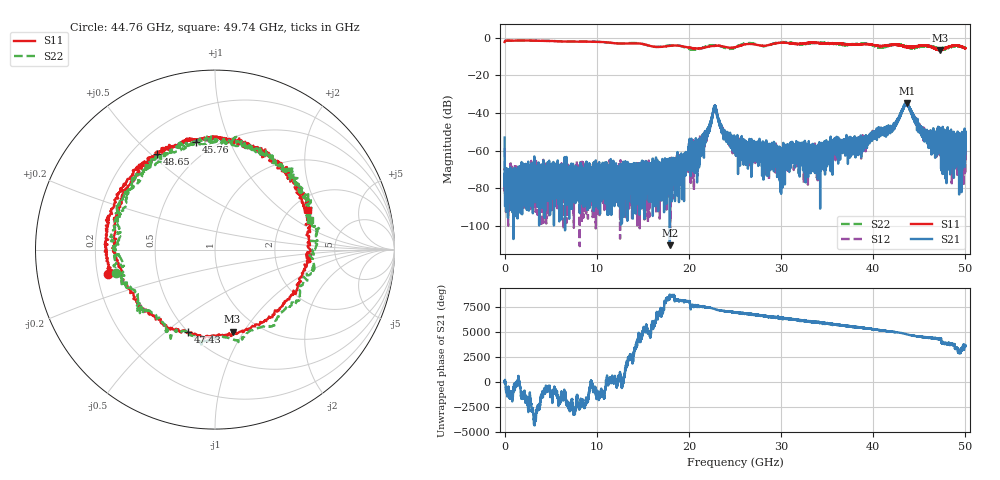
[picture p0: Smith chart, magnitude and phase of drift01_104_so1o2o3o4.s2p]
!Created with skrf (http://scikit-rf.org).
# Hz S RI R 50.0
!freq ReS11 ImS11 ReS21 ImS21 ReS12 ImS12 ReS22 ImS22
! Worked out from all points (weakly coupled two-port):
!   10001 points, 300 kHz to 50 GHz, reference 50 ohm
!   highest |S21| = -34.61 dB at 43.65 GHz (marker M1); lowest = -110.5 dB at 17.93 GHz (marker M2)
!   lowest |S11| = -6.6 dB at 47.21 GHz (marker M3), VSWR 2.76, Z = 38.2 - j44.8 ohm
!   |S11| at or under -10 dB: nowhere
!   |S22| runs from -6.4 to -1.4 dB; largest |S21 - S12| = 0.0041
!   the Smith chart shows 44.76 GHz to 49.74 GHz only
!   S11 on the Smith chart (normalised r, x): 44.76 GHz: 0.25, -0.11; 45.76 GHz: 0.40, +0.76; 47.43 GHz: 0.50, -0.60; 48.65 GHz: 0.30, +0.53; 49.74 GHz: 2.43, +1.57
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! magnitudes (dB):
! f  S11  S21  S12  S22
! 300 kHz  -2.1  -53.1  -58.9  -2.0
! 260.3 MHz  -1.4  -71.9  -83.9  -1.4
! 8.335 GHz  -1.9  -79.8  -81.7  -1.8
! 16.67 GHz  -4.8  -72.2  -71.5  -4.8
! 17.93 GHz  -4.2  -110.5  -74.0  -4.0
! 21.13 GHz  -5.6  -57.7  -59.9  -5.9
! 22.79 GHz  -4.3  -36.4  -36.4  -4.0
! 23.75 GHz  -4.6  -49.2  -48.9  -5.0
! 25 GHz  -5.0  -58.5  -56.6  -5.1
! 29.94 GHz  -2.6  -64.6  -61.4  -2.3
! 31.62 GHz  -3.2  -57.7  -63.3  -3.1
! 33.34 GHz  -2.6  -60.9  -71.9  -2.6
! 38.27 GHz  -3.5  -53.1  -55.7  -3.1
! 41.67 GHz  -3.9  -46.9  -49.1  -4.4
! 43.65 GHz  -4.9  -34.6  -35.0  -5.1
! 44.76 GHz  -4.3  -45.8  -44.9  -4.9
! 45.76 GHz  -4.3  -51.7  -51.8  -4.3
! 47.21 GHz  -6.6  -51.2  -60.5  -5.8
! 47.43 GHz  -6.3  -54.0  -50.5  -5.7
! 48.65 GHz  -4.1  -50.4  -60.0  -4.7
! 49.74 GHz  -5.0  -57.4  -57.3  -5.1
! 50 GHz  -5.5  -50.3  -62.7  -5.3
